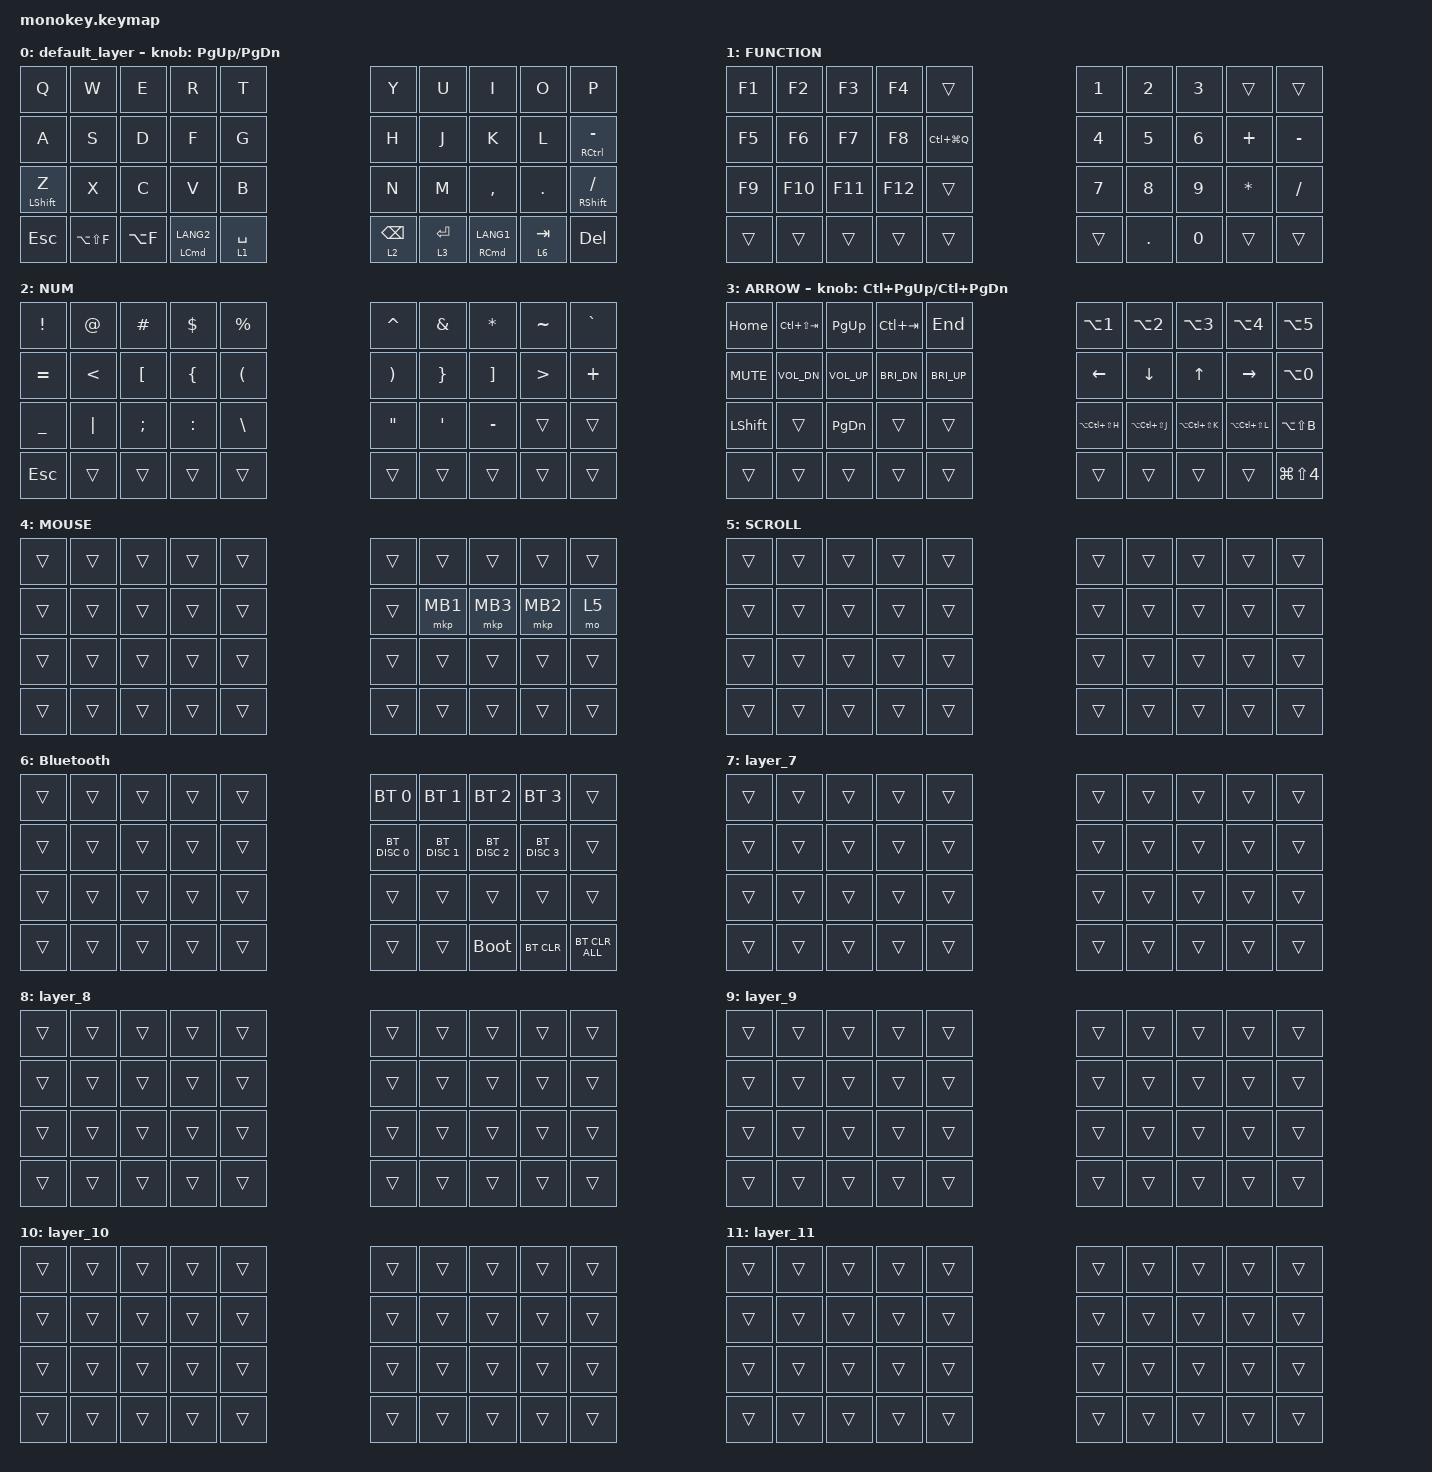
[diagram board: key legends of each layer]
#include <behaviors.dtsi>
#include <dt-bindings/zmk/bt.h>
#include <dt-bindings/zmk/keys.h>
#include <dt-bindings/zmk/pointing.h>

#define MOUSE 4
#define SCROLL 5
#define NUM 6

&mt {
    flavor = "balanced";
    quick-tap-ms = <300>;
};

&lt { quick-tap-ms = <300>; };

/ {
    macros {
        to_layer_0: to_layer_0 {
            compatible = "zmk,behavior-macro-one-param";
            #binding-cells = <1>;
            bindings = <&to 0 &macro_param_1to1 &kp MACRO_PLACEHOLDER>;
            label = "TO_LAYER_0";
        };
    };

    combos {
        compatible = "zmk,combos";

        space {
            bindings = <&kp SPACE>;
            key-positions = <17 18>;
            timeout-ms = <50>;
        };

        mb3 {
            bindings = <&mkp MB3>;
            key-positions = <19 18>;
        };

        combo_ctrl {
            bindings = <&kp LCTRL>;
            key-positions = <11 12>; // S+D
        };

        combo_alt {
            bindings = <&kp LEFT_ALT>;
            key-positions = <12 13>; // D+F
        };

        combo_tab {
            bindings = <&kp TAB>;
            key-positions = <1 2>; // W+E
            timeout-ms = <50>;
        };
    };

    behaviors {
        lt_to_layer_0: lt_to_layer_0 {
            compatible = "zmk,behavior-hold-tap";
            label = "LT_TO_LAYER_0";
            bindings = <&mo>, <&to_layer_0>;
            #binding-cells = <2>;
            tapping-term-ms = <200>;
            quick-tap-ms = <300>;
        };

        right_click: right_click_behavior {
            compatible = "zmk,behavior-mouse-key";
            label = "RIGHT_CLICK";
            #binding-cells = <0>;

            // 右クリックは通常 MB2 に対応（ZMKの標準定義）

            bindings = <&mkp MB2>;
        };
    };

    keymap {
        compatible = "zmk,keymap";

        default_layer {
          bindings = <
&kp Q         &kp W      &kp E         &kp R          &kp T                                          &kp Y        &kp U             &kp I      &kp O    &kp P
&kp A         &kp S      &kp D         &kp F          &kp G                                          &kp H        &kp J             &kp K      &kp L    &mt RCTRL MINUS
&mt LSHIFT Z  &kp X      &kp C         &kp V          &kp B                                          &kp N        &kp M             &kp COMMA  &kp DOT  &mt RSHIFT SLASH
&kp ESC       &kp LA(LS(F)) &kp LA(F)  &mt LCMD LANG2 &lt 1 SPACE     &lt 2 BACKSPACE &lt 3 ENTER  &mt RCMD LANG1    &lt 6 TAB  &kp DEL
            >;

            sensor-bindings = <&inc_dec_kp PG_UP PAGE_DOWN>;
        };

        FUNCTION {
            bindings = <
&kp F1  &kp F2   &kp F3   &kp F4   &trans             &kp NUMBER_1  &kp NUMBER_2  &kp NUMBER_3  &trans        &trans
&kp F5  &kp F6   &kp F7   &kp F8   &kp LC(LG(Q))      &kp NUMBER_4  &kp NUMBER_5  &kp NUMBER_6  &kp PLUS      &kp MINUS
&kp F9  &kp F10  &kp F11  &kp F12  &trans             &kp NUMBER_7  &kp NUMBER_8  &kp NUMBER_9  &kp ASTERISK  &kp SLASH
&trans  &trans   &trans   &trans   &trans  &trans    &kp PERIOD    &kp NUMBER_0               &trans        &trans
            >;
        };

        NUM {
            bindings = <
&kp EXCLAMATION  &kp AT_SIGN    &kp HASH          &kp DOLLAR      &kp PERCENT              &kp CARET              &kp AMPERSAND      &kp ASTERISK       &kp TILDE        &kp GRAVE
&kp EQUAL        &kp LESS_THAN  &kp LEFT_BRACKET  &kp LEFT_BRACE  &kp LEFT_PARENTHESIS     &kp RIGHT_PARENTHESIS  &kp RIGHT_BRACE    &kp RIGHT_BRACKET  &kp GREATER_THAN &kp PLUS
&kp UNDERSCORE   &kp PIPE       &kp SEMICOLON     &kp COLON       &kp BACKSLASH            &kp DOUBLE_QUOTES      &kp SINGLE_QUOTE   &kp MINUS          &trans           &trans
&kp ESC          &trans         &trans            &trans          &trans        &trans    &trans                    &trans                                &trans           &trans
            >;
        };

        ARROW {
            bindings = <
&kp HOME        &kp LC(LS(TAB))  &kp PG_UP       &kp LC(TAB)      &kp END              &kp LA(NUMBER_1)  &kp LA(NUMBER_2)  &kp LA(NUMBER_3)  &kp LA(NUMBER_4)  &kp LA(NUMBER_5)
&kp C_MUTE      &kp C_VOL_DN     &kp C_VOL_UP    &kp C_BRI_DN     &kp C_BRI_UP         &kp LEFT_ARROW    &kp DOWN_ARROW    &kp UP_ARROW      &kp RIGHT_ARROW   &kp LA(NUMBER_0)
&kp LEFT_SHIFT  &trans           &kp PG_DN       &trans           &trans               &kp LA(LC(LS(H))) &kp LA(LC(LS(J))) &kp LA(LC(LS(K))) &kp LA(LC(LS(L))) &kp LA(LS(B))
&trans          &trans           &trans          &trans           &trans   &trans    &trans            &trans                                                    &trans           &kp LG(LS(N4))
            >;

            sensor-bindings = <&inc_dec_kp LC(PAGE_UP) LC(PAGE_DOWN)>;
        };

        MOUSE {
            bindings = <
&trans  &trans  &trans  &trans  &trans            &trans    &trans    &trans    &trans    &trans
&trans  &trans  &trans  &trans  &trans            &trans    &mkp MB1  &mkp MB3  &mkp MB2  &mo 5
&trans  &trans  &trans  &trans  &trans            &trans    &trans    &trans    &trans    &trans
&trans  &trans  &trans  &trans  &trans  &trans    &trans    &trans              &trans    &trans
            >;
        };

        SCROLL {
            bindings = <
&trans  &trans  &trans  &trans  &trans            &trans  &trans  &trans  &trans  &trans
&trans  &trans  &trans  &trans  &trans            &trans  &trans  &trans  &trans  &trans
&trans  &trans  &trans  &trans  &trans            &trans  &trans  &trans  &trans  &trans
&trans  &trans  &trans  &trans  &trans  &trans    &trans  &trans          &trans  &trans
            >;
        };

        Bluetooth {
            bindings = <
&trans  &trans  &trans  &trans  &trans            &bt BT_SEL 0   &bt BT_SEL 1   &bt BT_SEL 2   &bt BT_SEL 3   &trans
&trans  &trans  &trans  &trans  &trans            &bt BT_DISC 0  &bt BT_DISC 1  &bt BT_DISC 2  &bt BT_DISC 3  &trans
&trans  &trans  &trans  &trans  &trans            &trans         &trans         &trans         &trans         &trans
&trans  &trans  &trans  &trans  &trans  &trans    &trans         &bootloader                   &bt BT_CLR     &bt BT_CLR_ALL
            >;
        };

        layer_7 {
            bindings = <
&trans  &trans  &trans  &trans  &trans            &trans  &trans  &trans  &trans  &trans
&trans  &trans  &trans  &trans  &trans            &trans  &trans  &trans  &trans  &trans
&trans  &trans  &trans  &trans  &trans            &trans  &trans  &trans  &trans  &trans
&trans  &trans  &trans  &trans  &trans  &trans    &trans  &trans          &trans  &trans
            >;
        };

        layer_8 {
            bindings = <
&trans  &trans  &trans  &trans  &trans            &trans  &trans  &trans  &trans  &trans
&trans  &trans  &trans  &trans  &trans            &trans  &trans  &trans  &trans  &trans
&trans  &trans  &trans  &trans  &trans            &trans  &trans  &trans  &trans  &trans
&trans  &trans  &trans  &trans  &trans  &trans    &trans  &trans          &trans  &trans
            >;
        };

        layer_9 {
            bindings = <
&trans  &trans  &trans  &trans  &trans            &trans  &trans  &trans  &trans  &trans
&trans  &trans  &trans  &trans  &trans            &trans  &trans  &trans  &trans  &trans
&trans  &trans  &trans  &trans  &trans            &trans  &trans  &trans  &trans  &trans
&trans  &trans  &trans  &trans  &trans  &trans    &trans  &trans          &trans  &trans
            >;
        };

        layer_10 {
            bindings = <
&trans  &trans  &trans  &trans  &trans            &trans  &trans  &trans  &trans  &trans
&trans  &trans  &trans  &trans  &trans            &trans  &trans  &trans  &trans  &trans
&trans  &trans  &trans  &trans  &trans            &trans  &trans  &trans  &trans  &trans
&trans  &trans  &trans  &trans  &trans  &trans    &trans  &trans          &trans  &trans
            >;
        };

        layer_11 {
            bindings = <
&trans  &trans  &trans  &trans  &trans            &trans  &trans  &trans  &trans  &trans
&trans  &trans  &trans  &trans  &trans            &trans  &trans  &trans  &trans  &trans
&trans  &trans  &trans  &trans  &trans            &trans  &trans  &trans  &trans  &trans
&trans  &trans  &trans  &trans  &trans  &trans    &trans  &trans          &trans  &trans
            >;
        };
    };
};
